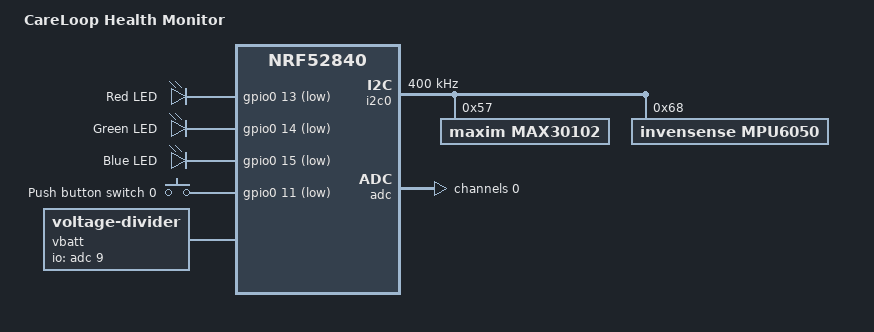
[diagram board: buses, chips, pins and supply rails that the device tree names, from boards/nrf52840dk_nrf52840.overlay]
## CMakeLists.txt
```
cmake_minimum_required(VERSION 3.20.0)

# Out-of-tree board (boards/careloop/careloop) and DT bindings (dts/bindings).
# Both must be set before find_package(Zephyr) or they are ignored.
list(APPEND BOARD_ROOT ${CMAKE_CURRENT_SOURCE_DIR})
list(APPEND DTS_ROOT ${CMAKE_CURRENT_SOURCE_DIR})

find_package(Zephyr REQUIRED HINTS $ENV{ZEPHYR_BASE})

project(CareLoop)

# Recursively add all .c files in src/ as sources
file(GLOB_RECURSE APP_SOURCES
    ${CMAKE_CURRENT_SOURCE_DIR}/src/*.c
)

target_sources(app PRIVATE ${APP_SOURCES})

target_include_directories(app PRIVATE
    ${CMAKE_CURRENT_SOURCE_DIR}/src
)

# BLE
target_include_directories(app PRIVATE
    ${CMAKE_CURRENT_SOURCE_DIR}/src/communication/include
)

# Business
target_include_directories(app PRIVATE
    ${CMAKE_CURRENT_SOURCE_DIR}/src/business/include
)

# HAL
target_include_directories(app PRIVATE
    ${CMAKE_CURRENT_SOURCE_DIR}/src/hal/include
)
```

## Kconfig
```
# Include the standard Zephyr Kconfig
source "Kconfig.zephyr"
```

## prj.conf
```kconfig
# Minimal configuration for a placeholder app
CONFIG_LOG=y
CONFIG_LOG_DEFAULT_LEVEL=3

# Console: deliberately not configured here.
#
# This file used to set CONFIG_CONSOLE/CONFIG_UART_CONSOLE/CONFIG_SERIAL=y,
# which overrode careloop_defconfig - the wearable exposes no UART pads, so its
# defconfig selects RTT and sets UART_CONSOLE=n/SERIAL=n. The product image
# therefore had no console at all on the real board, hidden only because
# build.sh defaults to the nRF52840 DK. Each board's defconfig picks its own
# console now: RTT on careloop, UART on the DK. Both already set
# CONFIG_CONSOLE=y themselves.

# Enable State Machine Framework (SMF)
CONFIG_SMF=y

# Enable BLE
CONFIG_BT=y
CONFIG_BT_PERIPHERAL=y
CONFIG_BT_SETTINGS=y
CONFIG_SETTINGS=y
CONFIG_BT_SMP=y
CONFIG_BT_BONDABLE=y
CONFIG_BT_DEVICE_NAME="CareLoop wearable"
CONFIG_BT_DEVICE_APPEARANCE=833
# Note: Problem with ios for CONFIG_BT_EXT_ADV=y

# --- Console buffer ----------------------------------------------------------
# RTT is the only console this board has, and the default up-buffer is 1024 B -
# smaller than the Bluetooth stack's own boot output. In NO_BLOCK_SKIP mode the
# overflow is *dropped*, so the whole BLE init sequence, every error it would
# report included, silently never appears. Observed on hardware: the log ended
# mid-way through bt_hci_core's banner.
#
# The mode stays NO_BLOCK_SKIP: BLOCK_IF_FIFO_FULL would hang an untethered
# wearable the moment its buffer filled with nobody attached. Only the size
# changes.
CONFIG_SEGGER_RTT_BUFFER_SIZE_UP=4096

# --- Bond persistence --------------------------------------------------------
# CONFIG_BT_SETTINGS without a storage backend is worse than useless: it links,
# runs, and silently stores nothing, so the only symptom is a phone re-prompting
# to pair after every power cycle. No devicetree change is needed - settings_nvs
# falls back to storage_partition when nothing is chosen as
# zephyr,settings-partition, and careloop.dts already defines it at 0xF0000
# (32 KB, 8 pages).
CONFIG_FLASH=y
CONFIG_FLASH_MAP=y
CONFIG_FLASH_PAGE_LAYOUT=y
CONFIG_NVS=y
CONFIG_SETTINGS_NVS=y

# --- PMIC ---------------------------------------------------------------------
# The battery service reads VBAT from the nPM1300's own ADC. There is no
# resistor divider into a SAADC pin on this board, so this is the only
# measurement available.
CONFIG_SENSOR=y
CONFIG_MFD=y
CONFIG_MFD_NPM13XX=y
CONFIG_NPM13XX_CHARGER=y
CONFIG_REGULATOR=y
CONFIG_REGULATOR_NPM13XX=y


# --- IMU ----------------------------------------------------------------------
# CONFIG_BMI270_TRIGGER is deliberately NOT set, and that is load-bearing.
#
# src/hal/motion_bmi270_ext.c owns both BMI270 interrupt pins and every
# interrupt register, because any-motion and no-motion are told apart only by
# INT_STATUS_0, which is read-to-clear. With the driver's trigger code built
# in, bmi270_thread_cb() reads that register on every INT1 edge - before it
# checks whether any handler is installed - and bmi270_init_int_pin() arms the
# pin at driver init whether a trigger was ever set or not. It would therefore
# consume the status this firmware needs, and win the race, since the system
# workqueue outranks the drain thread.
#
# Nothing is lost by turning it off: data-ready is mapped through
# INT_MAP_DATA by the extension instead, and the FIFO replaces it for
# streaming anyway.

# --- Indicator LEDs -----------------------------------------------------------
# D4/D3/D2 hang off the nPM1300's constant-current sinks, not off MCU GPIO.
# LED_NPM13XX is default y from the devicetree node, but its Kconfig is sourced
# inside `if LED`, and LED is a bare menuconfig with no default - so without
# this the driver is never built and hal/leds.h drives nothing. The bring-up
# apps under test/ each set it for the same reason.
CONFIG_LED=y
```

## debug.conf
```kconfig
# --- GDB & pyOCD Thread Awareness ---
CONFIG_DEBUG_THREAD_INFO=y
CONFIG_THREAD_MONITOR=y
CONFIG_THREAD_NAME=y

# --- Compiler & Assertions ---
CONFIG_DEBUG_OPTIMIZATIONS=y
CONFIG_ASSERT=y
CONFIG_ASSERT_LEVEL=2

# --- Fault Isolation & Stack Safety ---
CONFIG_RESET_ON_FATAL_ERROR=n
CONFIG_INIT_STACKS=y
CONFIG_STACK_SENTINEL=y

# --- Synchronous Logging ---
CONFIG_LOG=y
CONFIG_LOG_MODE_IMMEDIATE=y
```

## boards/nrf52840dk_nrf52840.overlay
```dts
/*
 * CareLoop Production Device Tree Overlay for NCS
 * Copyright (c) 2024 Nordic Semiconductor ASA
 * SPDX-License-Identifier: Apache-2.0
 */

/ {
    model = "CareLoop Health Monitor";
    
    aliases {
        led0 = &led0;  /* Red LED */
        led1 = &led1;  /* Green LED */
        led2 = &led2;  /* Blue LED */
        sw0 = &button0;
    };

    leds {
        compatible = "gpio-leds";
        led0: led_0 {
            gpios = <&gpio0 13 GPIO_ACTIVE_LOW>;
            label = "Red LED";
        };
        led1: led_1 {
            gpios = <&gpio0 14 GPIO_ACTIVE_LOW>;
            label = "Green LED";
        };
        led2: led_2 {
            gpios = <&gpio0 15 GPIO_ACTIVE_LOW>;
            label = "Blue LED";
        };
    };

    buttons {
        compatible = "gpio-keys";
        button0: button_0 {
            gpios = <&gpio0 11 (GPIO_PULL_UP | GPIO_ACTIVE_LOW)>;
            label = "Push button switch 0";
        };
    };

    /* Power supply configuration */
    vbatt {
        compatible = "voltage-divider";
        io-channels = <&adc 9>;
        output-ohms = <100000>;
        full-ohms = <(100000 + 100000)>;
    };
};

&i2c0 {
    compatible = "nordic,nrf-twi";
    status = "okay";
    clock-frequency = <I2C_BITRATE_FAST>;

    /* MAX30102 Heart Rate Sensor */
    max30102: max30102@57 {
        compatible = "maxim,max30102";
        reg = <0x57>;
        label = "MAX30102";
        status = "okay";
        
        /* Driver configuration properties */
        sample-rate = <100>;        /* 100 Hz sampling */
        led-current-red = <63>;     /* 0x3F = ~27mA */
        led-current-ir = <63>;      /* 0x3F = ~27mA */
        adc-range = <4096>;         /* 4096 nA range */
        pulse-width = <411>;        /* 411 μs pulse width */
    };

    mpu6050: mpu6050@68 {
        compatible = "invensense,mpu6050";
        reg = <0x68>;
        status = "okay";
    };
};

&adc {
    status = "okay";
    #address-cells = <1>;
    #size-cells = <0>;

    channel@0 {
        reg = <0>;
        zephyr,gain = "ADC_GAIN_1_6";
        zephyr,reference = "ADC_REF_INTERNAL";
        zephyr,acquisition-time = <ADC_ACQ_TIME_DEFAULT>;
        zephyr,input-positive = <NRF_SAADC_VDD>;
        zephyr,resolution = <12>;
    };
};
```

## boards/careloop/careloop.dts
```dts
/*
 * Copyright (c) 2026 CareLoop
 * SPDX-License-Identifier: Apache-2.0
 *
 * CareLoop Wearable main .dts file
 * when there is a new hardware revision available, export everything which does
 * not fit to the new revision into a .overlay file
 *
 */

/dts-v1/;
#include <nordic/nrf52840_qiaa.dtsi>
#include <zephyr/dt-bindings/input/input-event-codes.h>
#include <zephyr/dt-bindings/regulator/npm13xx.h>
#include <zephyr/dt-bindings/regulator/nrf5x.h>

/ {
	model = "CareLoop Wearable v2";
	compatible = "careloop,careloop-v2";

	chosen {
		zephyr,sram = &sram0;
		zephyr,flash = &flash0;
		zephyr,code-partition = &slot0_partition;
	};
};

/*
 * BMI270 INT2 is on P0.09, an NFC antenna pin at reset, so the pin is dead
 * as a GPIO without this. Written to UICR once by SoC init, which then
 * soft-resets - so the first flash after changing this needs a full erase
 * and a power cycle. Reads back 0xFFFFFFFE at 0x1000120C when applied.
 */
&uicr {
	nfct-pins-as-gpios;
};

/*
 * Do not switch REG1 to DC/DC. L13, the 15 nH DCC inductor, is not fitted
 * on current boards; without it NRF5X_REG_MODE_DCDC can leave the SoC
 * unstable or refusing to start, which presents exactly like a dead board.
 * LDO is already the upstream default - repeated here so the warning is
 * where someone would go looking. CONFIG_SOC_DCDC_NRF52X does the same
 * thing by another route.
 */
&reg1 {
	regulator-initial-mode = <NRF5X_REG_MODE_LDO>;
};

&gpiote {
	status = "okay";
};

&gpio0 {
	status = "okay";
};

&gpio1 {
	status = "okay";
};

&i2c0 {
	compatible = "nordic,nrf-twim";
	status = "okay";
	pinctrl-0 = <&i2c0_default>;
	pinctrl-1 = <&i2c0_sleep>;
	pinctrl-names = "default", "sleep";
	clock-frequency = <I2C_BITRATE_FAST>;

	/* U3 - TMP117 skin temperature. ADD0 to GND => 0x48. */
	tmp117: tmp11x@48 {
		compatible = "ti,tmp11x";
		reg = <0x48>;
	};

	/*
	 * U4 - BMI270 IMU. SDO to GND => 0x68, CSB high => I2C mode.
	 * irq-gpios is [INT1, INT2]; the driver pins any-motion to INT1 and
	 * SENSOR_TRIG_DATA_READY to INT2. The mapping is hardcoded in the
	 * driver, not a devicetree choice.
	 *
	 * INT2 (P0.09) is VERIFIED on hardware, 2026-08-21:
	 * careloop_hal_2_motion's data-ready test counted exactly 20 interrupts
	 * in 200 ms with the accelerometer at 100 Hz. That also settles two
	 * things it is easy to doubt - GPIO_ACTIVE_HIGH is the correct polarity
	 * here, and nfct-pins-as-gpios really did reach UICR, since P0.09 is an
	 * NFC pin and is dead as a GPIO otherwise.
	 *
	 * INT1 (P1.15) is still UNVERIFIED. Nothing proves it carries a pulse:
	 * any-motion is armed in the suite but its firing needs the board picked
	 * up, so that case configures thresholds and then skips. Every other
	 * assertion would pass with this pin unconnected.
	 *
	 * "bosch,bmi270-base" must stay. It has no binding file - it is a
	 * marker the driver tests with DT_INST_NODE_HAS_COMPAT to select the
	 * feature set, and "bosch,bmi270" supplies the actual binding.
	 * Without it the driver picks bmi270_feature_max_fifo, whose
	 * anymo_1/anymo_2 pointers are NULL, and SENSOR_TRIG_MOTION
	 * dereferences them. Address 0 is readable flash here, so nothing
	 * faults - it silently corrupts the sensor's feature config, on
	 * disable as well as enable.
	 *
	 * Changing this changes the config blob uploaded at init; re-run
	 * ./scripts/bringup.sh suite on hardware.
	 */
	bmi270: bmi270@68 {
		compatible = "bosch,bmi270-base", "bosch,bmi270";
		reg = <0x68>;
		irq-gpios = <&gpio1 15 GPIO_ACTIVE_HIGH>,
			    <&gpio0 9 GPIO_ACTIVE_HIGH>;
	};

	/*
	 * U2 - nPM1300. Source of every rail: BUCK1 -> +1V8 (MCU, sensors,
	 * I2C pull-ups), BUCK2 -> +3V3 (through jumper J3; feeds the AFE's
	 * RX_SUP and the indicator LED anodes), LDO1 -> +VLDO1. With no SAADC
	 * divider on the board, its VBAT ADC is the only way to read battery
	 * voltage.
	 *
	 * Its interrupt is left undescribed: mfd_npm13xx_init() hard-fails on
	 * any error in that path, so an unverified pin would break every
	 * PMIC-adjacent driver at once.
	 */
	npm1300: pmic@6b {
		compatible = "nordic,npm1300";
		reg = <0x6b>;
		status = "okay";

		regulators {
			compatible = "nordic,npm1300-regulator";

			/*
			 * BUCK1 is the MCU's own supply, so min == max is
			 * load-bearing: regulator_common_init() snaps the
			 * output into range at boot, and a wrong range here
			 * browns out the CPU mid-init.
			 */
			npm1300_buck1: BUCK1 {
				regulator-min-microvolt = <1800000>;
				regulator-max-microvolt = <1800000>;
				regulator-always-on;
				regulator-boot-on;
			};

			npm1300_buck2: BUCK2 {
				regulator-min-microvolt = <3300000>;
				regulator-max-microvolt = <3300000>;
				regulator-boot-on;
			};

			/*
			 * Unused. Its output (U2 pad 29) reaches jumper J4
			 * and stops - +VLDO1 connects to nothing else on the
			 * board. The AFE runs off +3V3, +1V8 and the +5V
			 * boost, so leave this off; enabling it powers
			 * nothing.
			 */
			npm1300_ldo1: LDO1 {
				regulator-min-microvolt = <1800000>;
				regulator-max-microvolt = <1800000>;
				regulator-allowed-modes = <NPM13XX_LDSW_MODE_LDO>;
				regulator-initial-mode = <NPM13XX_LDSW_MODE_LDO>;
			};
		};

		/*
		 * No thermistor is fitted, hence 0 ohms. Do not add any
		 * thermistor-*-millidegrees threshold: that path divides by
		 * the thermistor resistance.
		 */
		/*
		 * D4, D3 and D2 - three red indicator LEDs, and the only
		 * LEDs on the board that firmware can drive. Anodes sit on
		 * +3V3 (BUCK2); cathodes go straight to the PMIC's
		 * constant-current sinks LED0/LED1/LED2 (pads 25/26/27,
		 * traced in the PCB netlist). There are deliberately no
		 * series resistors - the sink sets the current.
		 *
		 * Host mode means software owns all three. The other two
		 * modes hand an LED to the PMIC's own charging or error
		 * indication, which is a product decision nobody has made
		 * yet; in either of them led_on() returns -EPERM.
		 *
		 * LED1 in afe.kicad_sch is unrelated - that is the SFH7074
		 * PPG emitter, driven by the AFE, and is out of scope.
		 */
		npm1300_leds: leds {
			compatible = "nordic,npm1300-led";
			nordic,led0-mode = "host";
			nordic,led1-mode = "host";
			nordic,led2-mode = "host";
		};

		npm1300_charger: charger {
			compatible = "nordic,npm1300-charger";
			term-microvolt = <4200000>;
			current-microamp = <50000>;
			dischg-limit-microamp = <200000>;
			vbus-limit-microamp = <500000>;
			thermistor-ohms = <0>;
			thermistor-beta = <3380>;
			charging-enable;
		};
	};

	/*
	 * The AFE4404 optical front end and the +5V boost that feeds its
	 * emitters are NOT here. Both are revision-specific and live in
	 * careloop_nrf52840_2_0_0.overlay, per the rule at the top of this
	 * file. Look there before concluding the board has no PPG front end.
	 */
};

&flash0 {
	partitions {
		compatible = "fixed-partitions";
		#address-cells = <1>;
		#size-cells = <1>;

		boot_partition: partition@0 {
			label = "mcuboot";
			reg = <0x00000000 0x0000c000>;
		};

		slot0_partition: partition@c000 {
			label = "image-0";
			reg = <0x0000c000 0x00072000>;
		};

		slot1_partition: partition@7e000 {
			label = "image-1";
			reg = <0x0007e000 0x00072000>;
		};

		storage_partition: partition@f0000 {
			label = "storage";
			reg = <0x000f0000 0x00008000>;
		};
	};
};

/* USB-C reaches the nPM1300 for charging and CC only - VBUS is not routed
 * to the MCU, so this never enumerates. Kept enabled as before.
 */
zephyr_udc0: &usbd {
	compatible = "nordic,nrf-usbd";
	status = "okay";
};
```

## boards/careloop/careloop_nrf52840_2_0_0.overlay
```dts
/*
 * Copyright (c) 2026 CareLoop
 * SPDX-License-Identifier: Apache-2.0
 *
 * Hardware revision 2.0 of the CareLoop wearable.
 * https://github.com/careloop-labs/hardware/releases/tag/hw-main-v2.0
 *
 */

&pinctrl {
	i2c0_default: i2c0_default {
		group1 {
			psels = <NRF_PSEL(TWIM_SDA, 1, 2)>,
				<NRF_PSEL(TWIM_SCL, 1, 4)>;
		};
	};

	i2c0_sleep: i2c0_sleep {
		group1 {
			psels = <NRF_PSEL(TWIM_SDA, 1, 2)>,
				<NRF_PSEL(TWIM_SCL, 1, 4)>;
			low-power-enable;
		};
	};
};

/*
 * The two nodes below are one unit and must move together: the AFE's
 * tx-supply phandle points at the boost, so splitting them across files
 * leaves a dangling reference that fails at build time.
 */
/ {
	/*
	 * U8, a MAX17222 boost generating +5V, enabled by net BOOST_EN_GPIO on
	 * P1.09 (U8 pad 6 EN to U1 pad R1, from the PCB netlist). Its output
	 * feeds two things and nothing else: the AFE's TX_SUP and the SFH7074
	 * emitter common anode. So this rail powers emission only - the AFE
	 * answers on I2C without it, off RX_SUP and IO_SUP.
	 *
	 * Not regulator-boot-on. hal/optical.h owns the enable, because the
	 * AFE has to be reset once this rail is up (SBAS689D Table 79) and
	 * only the driver can order those two.
	 */
	afe_boost_en: afe-boost-en {
		compatible = "regulator-fixed";
		regulator-name = "afe_boost_5v";
		enable-gpios = <&gpio1 9 GPIO_ACTIVE_HIGH>;
		startup-delay-us = <1000>;
	};
};

&i2c0 {
	/*
	 * U7 - AFE4404 optical front end, driving the SFH7074 (LED1). Fixed
	 * I2C address 0x58, not selectable.
	 *
	 * An earlier comment here claimed the fitted part was a MAX86178 and
	 * that "ti,afe4404" was stale. That was backwards. CareLoop.kicad_pcb
	 * places U7 AFE4404YZPR; MAX86178 appears nowhere in it, U5 is in no
	 * BOM row, and CareLoop.csv lists AFE4404YZPR. The MAX86178 symbol
	 * survives in afe.kicad_sch but was never laid out.
	 *
	 * There is no Zephyr or NCS driver for the AFE4404 either, so this
	 * node exists for src/hal/optical_afe4404.c and the binding in
	 * dts/bindings/sensor. Nothing in the sensor subsystem binds it.
	 *
	 * reset-gpios is RESETZ and is an output from us, despite the
	 * schematic calling its net AFE_INT2. Treating that name at face value
	 * and configuring P0.26 as an interrupt input leaves the part held in
	 * reset, which looks exactly like an AFE that will not ACK.
	 *
	 * adc-rdy-gpios (P0.12, net AFE_INT1) is the real interrupt. Described
	 * but unused: nothing reads samples yet. Both pins UNVERIFIED on
	 * hardware.
	 */
	afe4404: afe4404@58 {
		compatible = "ti,afe4404";
		reg = <0x58>;
		reset-gpios = <&gpio0 26 GPIO_ACTIVE_LOW>;
		adc-rdy-gpios = <&gpio0 12 GPIO_ACTIVE_HIGH>;
		tx-supply = <&afe_boost_en>;
	};
};
```

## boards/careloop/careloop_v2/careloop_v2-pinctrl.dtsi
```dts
/*
 * Copyright (c) 2026 CareLoop
 * SPDX-License-Identifier: Apache-2.0
 *
 * Pin assignments extracted from CareLoop.kicad_sch (v2 hardware).
 * Single shared I2C bus: SDA = P1.02, SCL = P1.04.
 */

&pinctrl {
	i2c0_default: i2c0_default {
		group1 {
			psels = <NRF_PSEL(TWIM_SDA, 1, 2)>,
				<NRF_PSEL(TWIM_SCL, 1, 4)>;
		};
	};

	i2c0_sleep: i2c0_sleep {
		group1 {
			psels = <NRF_PSEL(TWIM_SDA, 1, 2)>,
				<NRF_PSEL(TWIM_SCL, 1, 4)>;
			low-power-enable;
		};
	};
};
```

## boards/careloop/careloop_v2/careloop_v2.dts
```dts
/*
 * Copyright (c) 2026 CareLoop
 * SPDX-License-Identifier: Apache-2.0
 *
 * CareLoop Wearable v2 - nRF52840 aQFN-73 (QIAA), confirmed by reading
 * FICR.INFO.PACKAGE = 0x2004 on an assembled board.
 *
 * Peripheral addresses and net-level wiring come from the per-block sheets
 * and are reliable. Individual nRF pin numbers are not: mcu.kicad_sch draws
 * a QFN-48 symbol while the PCB places an aQFN-73 footprint, so that
 * symbol's pin names do not map to the fitted part. Pins below are marked
 * where they have been proven on hardware.
 */

/dts-v1/;
#include <nordic/nrf52840_qiaa.dtsi>
#include "careloop_v2-pinctrl.dtsi"
#include <zephyr/dt-bindings/input/input-event-codes.h>
#include <zephyr/dt-bindings/regulator/npm13xx.h>
#include <zephyr/dt-bindings/regulator/nrf5x.h>

/ {
	model = "CareLoop Wearable v2";
	compatible = "careloop,careloop-v2";

	chosen {
		zephyr,sram = &sram0;
		zephyr,flash = &flash0;
		zephyr,code-partition = &slot0_partition;
	};

	/*
	 * TPSM81299 boost (U6) generating +5V for the AFE LEDs, gated by net
	 * BOOST_EN. Not regulator-boot-on: the PPG is out of scope until it
	 * has a driver, so the rail stays off and the pin is driven inactive.
	 * Pin unverified.
	 */
	afe_boost_en: afe-boost-en {
		compatible = "regulator-fixed";
		regulator-name = "afe_boost_5v";
		enable-gpios = <&gpio1 9 GPIO_ACTIVE_HIGH>;
		startup-delay-us = <1000>;
	};
};

/*
 * BMI270 INT2 is on P0.09, an NFC antenna pin at reset, so the pin is dead
 * as a GPIO without this. Written to UICR once by SoC init, which then
 * soft-resets - so the first flash after changing this needs a full erase
 * and a power cycle. Reads back 0xFFFFFFFE at 0x1000120C when applied.
 */
&uicr {
	nfct-pins-as-gpios;
};

/*
 * Do not switch REG1 to DC/DC. L13, the 15 nH DCC inductor, is not fitted
 * on current boards; without it NRF5X_REG_MODE_DCDC can leave the SoC
 * unstable or refusing to start, which presents exactly like a dead board.
 * LDO is already the upstream default - repeated here so the warning is
 * where someone would go looking. CONFIG_SOC_DCDC_NRF52X does the same
 * thing by another route.
 */
&reg1 {
	regulator-initial-mode = <NRF5X_REG_MODE_LDO>;
};

&gpiote {
	status = "okay";
};

&gpio0 {
	status = "okay";
};

&gpio1 {
	status = "okay";
};

/* All three addresses below verified on hardware by test/bringup/i2cscan. */
&i2c0 {
	compatible = "nordic,nrf-twim";
	status = "okay";
	pinctrl-0 = <&i2c0_default>;
	pinctrl-1 = <&i2c0_sleep>;
	pinctrl-names = "default", "sleep";
	clock-frequency = <I2C_BITRATE_FAST>;

	/* U3 - TMP117 skin temperature. ADD0 to GND => 0x48. */
	tmp117: tmp11x@48 {
		compatible = "ti,tmp11x";
		reg = <0x48>;
	};

	/*
	 * U4 - BMI270 IMU. SDO to GND => 0x68, CSB high => I2C mode.
	 * irq-gpios is ordered [INT1, INT2]; only INT2 carries
	 * SENSOR_TRIG_DATA_READY. Both pins unverified - the self-test's
	 * interrupt check is what will settle them.
	 */
	bmi270: bmi270@68 {
		compatible = "bosch,bmi270";
		reg = <0x68>;
		irq-gpios = <&gpio1 15 GPIO_ACTIVE_HIGH>,
			    <&gpio0 9 GPIO_ACTIVE_HIGH>;
	};

	/*
	 * U2 - nPM1300. Source of every rail: BUCK1 -> +1V8 (MCU, sensors,
	 * I2C pull-ups), BUCK2 -> +3V3, LDO1 -> +VLDO1 (AFE only). With no
	 * SAADC divider on the board, its VBAT ADC is the only way to read
	 * battery voltage.
	 *
	 * Its interrupt is left undescribed: mfd_npm13xx_init() hard-fails on
	 * any error in that path, so an unverified pin would break every
	 * PMIC-adjacent driver at once.
	 */
	npm1300: pmic@6b {
		compatible = "nordic,npm1300";
		reg = <0x6b>;
		status = "okay";

		regulators {
			compatible = "nordic,npm1300-regulator";

			/*
			 * BUCK1 is the MCU's own supply, so min == max is
			 * load-bearing: regulator_common_init() snaps the
			 * output into range at boot, and a wrong range here
			 * browns out the CPU mid-init.
			 */
			npm1300_buck1: BUCK1 {
				regulator-min-microvolt = <1800000>;
				regulator-max-microvolt = <1800000>;
				regulator-always-on;
				regulator-boot-on;
			};

			npm1300_buck2: BUCK2 {
				regulator-min-microvolt = <3300000>;
				regulator-max-microvolt = <3300000>;
				regulator-boot-on;
			};

			/* AFE supply - left off until the AFE has a driver. */
			npm1300_ldo1: LDO1 {
				regulator-min-microvolt = <1800000>;
				regulator-max-microvolt = <1800000>;
				regulator-allowed-modes = <NPM13XX_LDSW_MODE_LDO>;
				regulator-initial-mode = <NPM13XX_LDSW_MODE_LDO>;
			};
		};

		/*
		 * No thermistor is fitted, hence 0 ohms. Do not add any
		 * thermistor-*-millidegrees threshold: that path divides by
		 * the thermistor resistance.
		 */
		/*
		 * D4, D3 and D2 - three red indicator LEDs, and the only
		 * LEDs on the board that firmware can drive. Anodes sit on
		 * +3V3 (BUCK2); cathodes go straight to the PMIC's
		 * constant-current sinks LED0/LED1/LED2 (pads 25/26/27,
		 * traced in the PCB netlist). There are deliberately no
		 * series resistors - the sink sets the current.
		 *
		 * Host mode means software owns all three. The other two
		 * modes hand an LED to the PMIC's own charging or error
		 * indication, which is a product decision nobody has made
		 * yet; in either of them led_on() returns -EPERM.
		 *
		 * LED1 in afe.kicad_sch is unrelated - that is the SFH7074
		 * PPG emitter, driven by the AFE, and is out of scope.
		 */
		npm1300_leds: leds {
			compatible = "nordic,npm1300-led";
			nordic,led0-mode = "host";
			nordic,led1-mode = "host";
			nordic,led2-mode = "host";
		};

		npm1300_charger: charger {
			compatible = "nordic,npm1300-charger";
			term-microvolt = <4200000>;
			current-microamp = <50000>;
			dischg-limit-microamp = <200000>;
			vbus-limit-microamp = <500000>;
			thermistor-ohms = <0>;
			thermistor-beta = <3380>;
			charging-enable;
		};
	};

	/*
	 * U5, the optical front end, is a MAX86178ENJ+T and is deliberately
	 * absent: no Zephyr or NCS driver exists for it. It also needs both
	 * LDO1 and the +5V boost up before it will ACK. The "ti,afe4404" node
	 * that used to be here came from a stale BOM and matched no part on
	 * the board.
	 */
};

&flash0 {
	partitions {
		compatible = "fixed-partitions";
		#address-cells = <1>;
		#size-cells = <1>;

		boot_partition: partition@0 {
			label = "mcuboot";
			reg = <0x00000000 0x0000C000>;
		};
		slot0_partition: partition@c000 {
			label = "image-0";
			reg = <0x0000C000 0x00072000>;
		};
		slot1_partition: partition@7e000 {
			label = "image-1";
			reg = <0x0007E000 0x00072000>;
		};
		storage_partition: partition@f0000 {
			label = "storage";
			reg = <0x000F0000 0x00008000>;
		};
	};
};

/* USB-C reaches the nPM1300 for charging and CC only - VBUS is not routed
 * to the MCU, so this never enumerates. Kept enabled as before.
 */
zephyr_udc0: &usbd {
	compatible = "nordic,nrf-usbd";
	status = "okay";
};
```

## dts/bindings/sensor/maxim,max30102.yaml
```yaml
# Copyright (c) 2018, NXP
# SPDX-License-Identifier: Apache-2.0

description: MAX30102 heart rate and SpO2 sensor

compatible: "maxim,max30102"

include: [sensor-device.yaml, i2c-device.yaml]

properties:
  sample-rate:
    type: int
    default: 100
    description: |
      Sample rate in Hz. Valid values are 50, 100, 200, 400, 800, 1000, 1600, 3200.
    enum: [50, 100, 200, 400, 800, 1000, 1600, 3200]

  led-current-red:
    type: int
    default: 31
    description: |
      LED current for red LED in mA. Range 0-63 (0.0mA to 50.0mA).
      Each step is approximately 0.8mA.

  led-current-ir:
    type: int
    default: 31
    description: |
      LED current for IR LED in mA. Range 0-63 (0.0mA to 50.0mA).
      Each step is approximately 0.8mA.

  adc-range:
    type: int
    default: 4096
    description: |
      ADC range in nA. Valid values are 2048, 4096, 8192, 16384.
    enum: [2048, 4096, 8192, 16384]

  pulse-width:
    type: int
    default: 411
    description: |
      LED pulse width in microseconds. Valid values are 69, 118, 215, 411.
      Affects ADC resolution: 69μs=15-bit, 118μs=16-bit, 215μs=17-bit, 411μs=18-bit.
    enum: [69, 118, 215, 411]
```

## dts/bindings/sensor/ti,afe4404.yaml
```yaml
# SPDX-License-Identifier: Apache-2.0
# Copyright (c) 2026 CareLoop Labs

description: |
  TI AFE4404 optical (PPG) analog front end.

  There is no Zephyr or NCS driver for this part, so this binding describes it
  only for src/hal/optical_afe4404.c. It intentionally carries no sensor
  properties: nothing in the sensor subsystem instantiates this node.

compatible: "ti,afe4404"

include: i2c-device.yaml

properties:
  reset-gpios:
    type: phandle-array
    required: true
    description: |
      RESETZ pin. Active low, and the polarity in the phandle must say so.

      Pulse length is a mode selector on this pin, not just a timing minimum:
      25-50 us resets the part, while anything over 200 us puts it into
      hardware power-down instead. The driver owns that distinction.

  adc-rdy-gpios:
    type: phandle-array
    description: |
      ADC_RDY output, asserted once per sample period. Optional: the emitter
      path does not need it, and nothing reads samples yet.

  tx-supply:
    type: phandle
    description: |
      Regulator feeding TX_SUP, the emitter drive rail. Without it the part
      still answers on I2C - IO_SUP and RX_SUP are separate - but no emitter
      can draw current, so the failure looks like working software and a dark
      board.
```

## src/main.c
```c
// TODO: this file is only for testing BLE


#include <zephyr/kernel.h>
#include <zephyr/logging/log.h>

#include "communication/include/ble/ble_manager.h"

LOG_MODULE_REGISTER(careloop, LOG_LEVEL_INF);

static void ble_event_handler(enum ble_network_event event, struct bt_conn *conn)
{
    switch (event) {
    case BLE_NETWORK_EVENT_CONNECTED:
        LOG_INF("BLE Connected");
        break;
    case BLE_NETWORK_EVENT_DISCONNECTED:
        LOG_INF("BLE Disconnected");
        break;
    case BLE_NETWORK_EVENT_BONDED:
        LOG_INF("BLE Bonded");
        break;
    case BLE_NETWORK_EVENT_SECURITY_CHANGED:
        LOG_INF("BLE Security Changed");
        break;
    default:
        LOG_INF("BLE Unknown event: %d", event);
        break;
    }
}

int main(void)
{
    if (ble_network_init(ble_event_handler) != 0) {
        LOG_INF("Error in BLE initialization!");
    } else {
        LOG_INF("BLE initialized, starting advertising...");
        if (ble_network_start_advertising() != 0) {
            LOG_INF("Failed to start BLE advertising");
        } else {
            LOG_INF("BLE advertising started");
        }
    }

    LOG_INF("CareLoop v1 app starting");
    while (1) {
        k_sleep(K_SECONDS(1));
    }
    return 0;
}
```

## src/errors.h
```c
// here, common errors are defined

#ifndef ERRORS_H
#define ERRORS_H

// business
#define ERR_BUSINESS_STATES 0x100
#define ERR_BUSINESS_PPG 0x200

// communication
#define ERR_COMMUNICATION_SENDING 0x300
#define ERR_COMMUNICATION_RECEIVING 0x400
// pairing, bonding and link encryption - its own base rather than a sending
// or receiving code, because a security failure is neither.
#define ERR_COMMUNICATION_SECURITY 0x500

// hal
#define ERR_HAL_POWER 0x600
#define ERR_HAL_SKIN_TEMPERATURE 0x700
#define ERR_HAL_MOTION 0x800
#define ERR_HAL_LEDS 0x900
#define ERR_HAL_DEVICE_IDENTITY 0xA00
#define ERR_HAL_OPTICAL 0xB00

#endif /* ERRORS_H */
```
